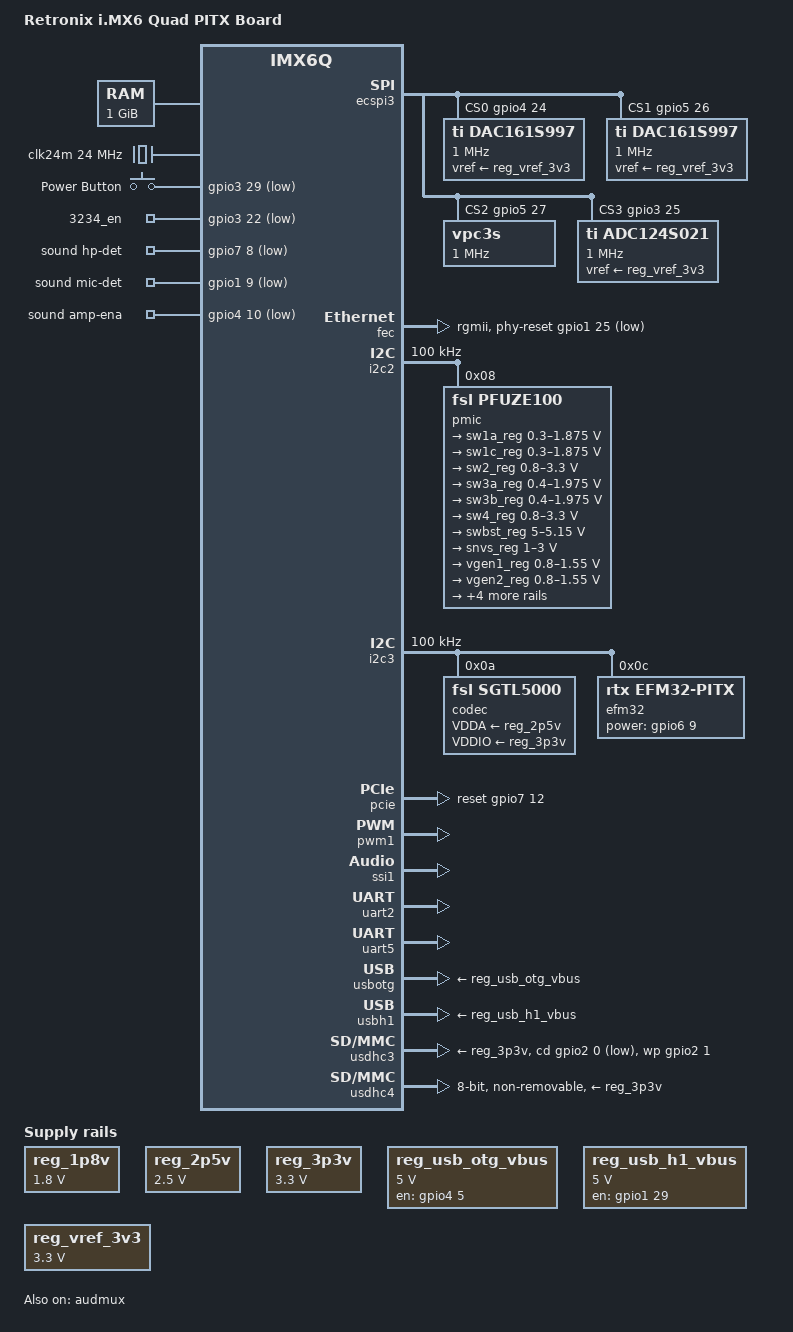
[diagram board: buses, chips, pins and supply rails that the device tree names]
/*
 * Copyright 2012 Freescale Semiconductor, Inc.
 * Copyright 2011 Linaro Ltd.
 *
 * The code contained herein is licensed under the GNU General Public
 * License. You may obtain a copy of the GNU General Public License
 * Version 2 or later at the following locations:
 *
 * http://www.opensource.org/licenses/gpl-license.html
 * http://www.gnu.org/copyleft/gpl.html
 */

/dts-v1/;

#include "skeleton.dtsi"
#include "imx6q-pinfunc.h"
#include <dt-bindings/gpio/gpio.h>
#include <dt-bindings/interrupt-controller/arm-gic.h>
#include <dt-bindings/clock/imx6qdl-clock.h>
#include <dt-bindings/input/input.h>
#include "rtx-imx6q-soc.dtsi"
#include "rtx-imx6q-pitx-b10-acbel-vpp-iomux.dtsi"

/ {
	model = "Retronix i.MX6 Quad PITX Board";
	compatible = "fsl,imx6q-rtx-pitx", "fsl,imx6q";
	
	aliases {
		mxcfb0 = &mxcfb1;
		mxcfb1 = &mxcfb2;
		mxcfb2 = &mxcfb3;
		mxcfb3 = &mxcfb4;
	};
	
	memory {
		reg = <0x10000000 0x40000000>;
	};
	
	clocks {
		clk24m: clk24m {
			compatible = "fixed-clock";
			#clock-cells = <0>;
			clock-frequency = <24000000>;
		};
	};
	
	regulators {
		compatible = "simple-bus";
		#address-cells = <1>;
		#size-cells = <0>;
		
		reg_1p8v: 1p8v {
			compatible = "regulator-fixed";
			regulator-name = "1P8V";
			regulator-min-microvolt = <1800000>;
			regulator-max-microvolt = <1800000>;
			regulator-always-on;
		};

		reg_2p5v: 2p5v {
			compatible = "regulator-fixed";
			regulator-name = "2P5V";
			regulator-min-microvolt = <2500000>;
			regulator-max-microvolt = <2500000>;
			regulator-always-on;
		};

		reg_3p3v: 3p3v {
			compatible = "regulator-fixed";
			regulator-name = "3P3V";
			regulator-min-microvolt = <3300000>;
			regulator-max-microvolt = <3300000>;
			regulator-always-on;
		};

		reg_usb_otg_vbus: usb_otg_vbus {
			compatible = "regulator-fixed";
			regulator-name = "usb_otg_vbus";
			regulator-min-microvolt = <5000000>;
			regulator-max-microvolt = <5000000>;
			gpio = <&gpio4 5 0>;
			enable-active-high;
		};

		reg_usb_h1_vbus: usb_h1_vbus {
			compatible = "regulator-fixed";
			regulator-name = "usb_h1_vbus";
			regulator-min-microvolt = <5000000>;
			regulator-max-microvolt = <5000000>;
			gpio = <&gpio1 29 0>;
			enable-active-high;
		};
		
		reg_vref_3v3: regulator@0 {
			compatible = "regulator-fixed";
			regulator-name = "vref-3v3";
			regulator-min-microvolt = <3300000>;
			regulator-max-microvolt = <3300000>;
		};
	};

	gpio-keys {
		compatible = "gpio-keys";
		pinctrl-names = "default";
		pinctrl-0 = <&pinctrl_keys_pitx>;
		
		power {
			label = "Power Button";
			gpios = <&gpio3 29 1>;
			linux,code = <KEY_POWER>; 
			gpio-key,wakeup;
		};
		/*
		reset {
			label = "Reset Button";
			gpios = <&gpio3 19 1>;
			linux,code = <KEY_RESET>;
			gpio-key,wakeup;
		} ;
		*/
	};

	gpio_export {
		compatible = "gpio-export";
		
		/* 3234_en = <&gpio3 22 1>; 85 */
		3234_en {
			/*gpio-export,name = "3234_en";*/
			gpio-export,output = <1>;
			gpio-export,direction_may_change ;
			gpios = <&gpio3 22 1>;
		};

	};

	sound {	
		compatible = "fsl,imx6q-rtx-pitx-sgtl5000",
			     "fsl,imx-audio-sgtl5000";
		model = "imx6q-rtx-pitx-sgtl5000";
		ssi-controller = <&ssi1>;
		audio-codec = <&codec>;
		audio-routing =
			"MIC_IN", "Mic Jack",
			"LINE_IN", "Line In Jack",
			"Headphone Jack", "HP_OUT",
			"Ext Spk", "LINE_OUT";
		mux-int-port = <1>;
		mux-ext-port = <3>;
		hp-det-gpios = <&gpio7 8 1>;
		mic-det-gpios = <&gpio1 9 1>;
		amp-ena-gpios = <&gpio4 10 1>;
	};

	mxcfb1: fb@0 {
		compatible = "fsl,mxc_sdc_fb";
		disp_dev = "ldb";
		interface_pix_fmt = "RGB666";
		default_bpp = <16>;
		int_clk = <0>;
		late_init = <0>;
		status = "okay";
	};

	mxcfb2: fb@1 {
		compatible = "fsl,mxc_sdc_fb";
		disp_dev = "ldb";
		interface_pix_fmt = "RGB666";
		default_bpp = <16>;
		int_clk = <0>;
		late_init = <0>;
		status = "okay";
	};

	mxcfb3: fb@2 {
		compatible = "fsl,mxc_sdc_fb";
		disp_dev = "hdmi";
		interface_pix_fmt = "RGB24";
		mode_str ="1920x1080M@60";
		default_bpp = <24>;
		int_clk = <0>;
		late_init = <0>;
		status = "okay";
	};
	
	mxcfb4: fb@3 {
		compatible = "fsl,mxc_sdc_fb";
		disp_dev = "lcd";
		interface_pix_fmt = "RGB565";
		mode_str ="CLAA-WVGA";
		default_bpp = <16>;
		int_clk = <0>;
		late_init = <0>;
		status = "okay";
	};

};

&audmux {
	pinctrl-names = "default";
	pinctrl-0 = <&pinctrl_audmux_pitx>;
	status = "okay";
};

&cpu0 {
	arm-supply = <&sw1a_reg>;
	soc-supply = <&sw1c_reg>;
};


&ecspi3 {
	fsl,spi-num-chipselects = <4>;
	cs-gpios = <&gpio4 24 0>, <&gpio5 26 0>, <&gpio5 27 0>, <&gpio3 25 0>;
	pinctrl-names = "default";
	pinctrl-0 = <&pinctrl_cspi3_pitx &pinctrl_cspi3_pitx_cs>;
	status = "okay"; 

	dac161s997@0 {
	    compatible = "ti,dac161s997";
	    reg = <0>;
	    vref-supply = <&reg_vref_3v3>;
	    spi-cpha;
	    spi-cpol;
	    spi-max-frequency = <1000000>;
	};

	dac161s997@1 {
	    compatible = "ti,dac161s997";
	    reg = <1>;
	    vref-supply = <&reg_vref_3v3>;
	    spi-cpha;
	    spi-cpol;
	    spi-max-frequency = <1000000>;
	};
	
	vpc3s@2 {
	    compatible = "vpc3s";
	    reg = <2>;
	    spi-max-frequency = <1000000>;
	};
	
	adc124s021@3 {
	    compatible = "ti,adc124s021";
	    reg = <3>;
	    vref-supply = <&reg_vref_3v3>;
	    spi-cpha;
	    spi-cpol;
	    spi-max-frequency = <1000000>;
	};

};


&fec {
	pinctrl-names = "default";
	pinctrl-0 = <&pinctrl_enet_pitx>;
	phy-mode = "rgmii";
	phy-reset-gpios = <&gpio1 25 0>;
	phy-reset-fall-duration = <1>;
	phy-reset-rise-duration = <20>;
	phy-reset-boot-on;
	status = "okay";
};

&can1 {
	pinctrl-names = "default";
	pinctrl-0 = <&pinctrl_flexcan1_pitx>;
	trx-stby-gpio = <&gpio1 5 GPIO_ACTIVE_LOW>;
	
	/*status = "okay";*/
};

&gpc {
	fsl,ldo-bypass = <1>; /* use ldo-bypass, u-boot will check it and configure */
	fsl,wdog-reset = <2>; /* watchdog select of reset source */
};


&i2c2 {
	clock-frequency = <100000>;
	pinctrl-names = "default";
	pinctrl-0 = <&pinctrl_i2c2_pitx>;
	status = "okay";

	pmic: pfuze100@08 {
		compatible = "fsl,pfuze100";
		reg = <0x08>;

		regulators {
			sw1a_reg: sw1ab {
				regulator-min-microvolt = <300000>;
				regulator-max-microvolt = <1875000>;
				regulator-boot-on;
				regulator-always-on;
				regulator-ramp-delay = <6250>;
			};

			sw1c_reg: sw1c {
				regulator-min-microvolt = <300000>;
				regulator-max-microvolt = <1875000>;
				regulator-boot-on;
				regulator-always-on;
				regulator-ramp-delay = <6250>;
			};

			sw2_reg: sw2 {
				regulator-min-microvolt = <800000>;
				regulator-max-microvolt = <3300000>;
				regulator-boot-on;
				regulator-always-on;
			};

			sw3a_reg: sw3a {
				regulator-min-microvolt = <400000>;
				regulator-max-microvolt = <1975000>;
				regulator-boot-on;
				regulator-always-on;
			};

			sw3b_reg: sw3b {
				regulator-min-microvolt = <400000>;
				regulator-max-microvolt = <1975000>;
				regulator-boot-on;
				regulator-always-on;
			};

			sw4_reg: sw4 {
				regulator-min-microvolt = <800000>;
				regulator-max-microvolt = <3300000>;
				regulator-boot-on;
				regulator-always-on;				
			};

			swbst_reg: swbst {
				regulator-min-microvolt = <5000000>;
				regulator-max-microvolt = <5150000>;
				regulator-always-on;
			};

			snvs_reg: vsnvs {
				regulator-min-microvolt = <1000000>;
				regulator-max-microvolt = <3000000>;
				regulator-boot-on;
				regulator-always-on;
			};

			vref_reg: vrefddr {
				regulator-boot-on;
				regulator-always-on;
			};

			vgen1_reg: vgen1 {
				regulator-min-microvolt = <800000>;
				regulator-max-microvolt = <1550000>;
				regulator-boot-on;
				regulator-always-on;				
			};

			vgen2_reg: vgen2 {
				regulator-min-microvolt = <800000>;
				regulator-max-microvolt = <1550000>;
				regulator-boot-on;
				regulator-always-on;				
			};

			vgen3_reg: vgen3 {
				regulator-min-microvolt = <1800000>;
				regulator-max-microvolt = <3300000>;
				regulator-boot-on;
				regulator-always-on;				
			};

			vgen4_reg: vgen4 {
				regulator-min-microvolt = <1800000>;
				regulator-max-microvolt = <3300000>;
				regulator-always-on;
			};

			vgen5_reg: vgen5 {
				regulator-min-microvolt = <1800000>;
				regulator-max-microvolt = <3300000>;
				regulator-always-on;
			};

			vgen6_reg: vgen6 {
				regulator-min-microvolt = <1800000>;
				regulator-max-microvolt = <3300000>;
				regulator-always-on;
			};
		};
	};

};

&i2c3 {
	clock-frequency = <100000>;
	pinctrl-names = "default";
	pinctrl-0 = <&pinctrl_i2c3_pitx>;
	status = "okay";

	codec: sgtl5000@0a {
		compatible = "fsl,sgtl5000";
		reg = <0x0a>;
		clocks = <&clks IMX6QDL_CLK_CKO>;
		VDDA-supply = <&reg_2p5v>;
		VDDIO-supply = <&reg_3p3v>;
		amic-mono;
	};
	
	efm32: rtx-efm32@0c {
		compatible = "rtx,efm32-pitx";
		pinctrl-names = "default";
		pinctrl-0 = <&pinctrl_mcu_pitx>;
		reg = <0x0c>;
		gpio-power = <&gpio6 9 0>;
	};
};

&pcie {
	pinctrl-names = "default";
	pinctrl-0 = <&pinctrl_pcie_pitx>;
	reset-gpio = <&gpio7 12 0>;
	status = "okay";
};

&pwm1 {
	pinctrl-names = "default";
	pinctrl-0 = <&pinctrl_pwm1_pitx>;
	status = "okay";
};

&ssi1 {
	fsl,mode = "i2s-slave";
	status = "okay";
};

&uart2 {
	pinctrl-names = "default";
	pinctrl-0 = <&pinctrl_uart2_pitx>;
    /* fsl,dte-mode;
    DTE mode : EIM_D26 is RX; EIM_D27 is TX;
    DCE mode : EIM_D26 is TX; EIM_D27 is RX;
    */
	status = "okay";
};

&uart5 {
	pinctrl-names = "default", "rs422";
	pinctrl-0 = <&pinctrl_uart5_dte_rs232>;
	pinctrl-1 = <&pinctrl_uart5_dte_rs422>;
    /* fsl,dte-mode;
    DTE mode : CSI0_DAT14 is RX; CSI0_DAT15 is TX; KEY_ROW4 is RTS; KEY_COL4 is CTS;
    DCE mode : CSI0_DAT14 is TX; CSI0_DAT15 is RX; KEY_ROW4 is CTS; KEY_COL4 is RTS;
    */
    fsl,dte-mode;
	fsl,uart-has-rtscts;
	fsl,sp339e;
	fsl,sp339e-dir    = <&gpio4 14 0> ;
	fsl,sp339e-m0     = <&gpio6 7 0> ;
	fsl,sp339e-m1     = <&gpio6 8 0> ;
	fsl,sp339e-tm     = <&gpio6 16 0> ;
	status = "okay";
};

&usbotg {
	pinctrl-names = "default";
	pinctrl-0 = <&pinctrl_usbotg_pitx>;
	vbus-supply = <&reg_usb_otg_vbus>;
	status = "okay";
};

&usbh1 {
	pinctrl-names = "default";
	pinctrl-0 = <&pinctrl_usbh1_pitx>;
	vbus-supply = <&reg_usb_h1_vbus>;
	status = "okay";
};

&usdhc3 {
	pinctrl-names = "default";
	pinctrl-0 = <&pinctrl_usdhc3_pitx_50mhz &pinctrl_usdhc3_cd_wp_pitx>;
	cd-gpios = <&gpio2 0 GPIO_ACTIVE_LOW>;
	wp-gpios = <&gpio2 1 GPIO_ACTIVE_HIGH>;
	vmmc-supply = <&reg_3p3v>;
	no-1-8-v;
	keep-power-in-suspend;
	enable-sdio-wakeup;
	status = "okay";
};

&usdhc4 {
	pinctrl-names = "default";
	pinctrl-0 = <&pinctrl_usdhc4_pitx>;
	vmmc-supply = <&reg_3p3v>;
	bus-width = <8>;
	non-removable;
	no-1-8-v;
	keep-power-in-suspend;
	status = "okay";
};
